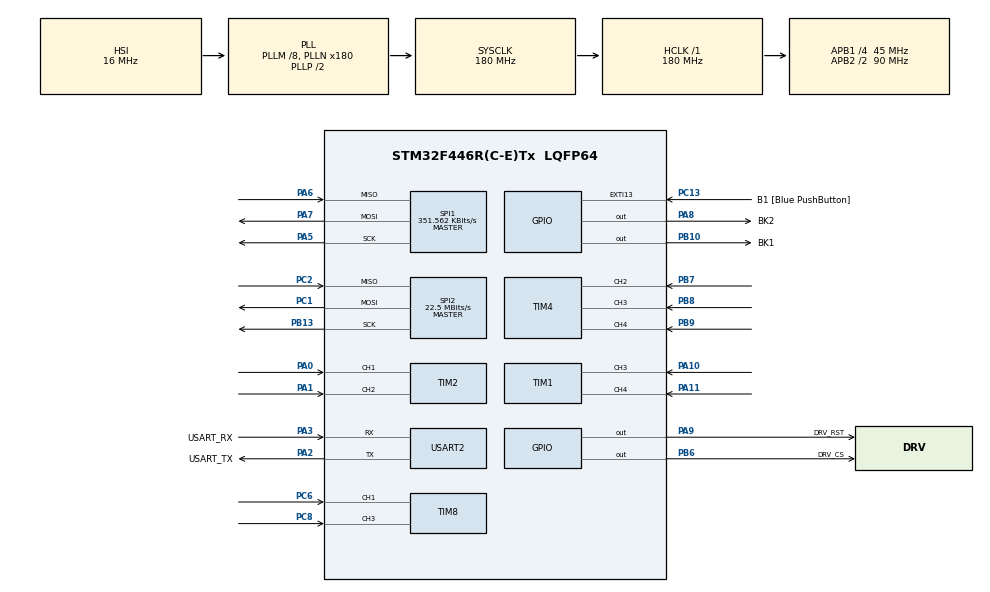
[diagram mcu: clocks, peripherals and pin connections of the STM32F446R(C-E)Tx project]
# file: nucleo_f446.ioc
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Dma.Request0=SPI1_RX
Dma.Request1=SPI1_TX
Dma.Request2=USART2_RX
Dma.SPI1_RX.0.Direction=DMA_PERIPH_TO_MEMORY
Dma.SPI1_RX.0.FIFOMode=DMA_FIFOMODE_DISABLE
Dma.SPI1_RX.0.Instance=DMA2_Stream0
Dma.SPI1_RX.0.MemDataAlignment=DMA_MDATAALIGN_BYTE
Dma.SPI1_RX.0.MemInc=DMA_MINC_ENABLE
Dma.SPI1_RX.0.Mode=DMA_NORMAL
Dma.SPI1_RX.0.PeriphDataAlignment=DMA_PDATAALIGN_BYTE
Dma.SPI1_RX.0.PeriphInc=DMA_PINC_DISABLE
Dma.SPI1_RX.0.Priority=DMA_PRIORITY_LOW
Dma.SPI1_TX.1.Direction=DMA_MEMORY_TO_PERIPH
Dma.SPI1_TX.1.FIFOMode=DMA_FIFOMODE_DISABLE
Dma.SPI1_TX.1.Instance=DMA2_Stream3
Dma.SPI1_TX.1.MemDataAlignment=DMA_MDATAALIGN_BYTE
Dma.SPI1_TX.1.MemInc=DMA_MINC_ENABLE
Dma.SPI1_TX.1.Mode=DMA_NORMAL
Dma.SPI1_TX.1.PeriphDataAlignment=DMA_PDATAALIGN_BYTE
Dma.SPI1_TX.1.PeriphInc=DMA_PINC_DISABLE
Dma.SPI1_TX.1.Priority=DMA_PRIORITY_LOW
Dma.USART2_RX.2.Direction=DMA_PERIPH_TO_MEMORY
Dma.USART2_RX.2.FIFOMode=DMA_FIFOMODE_DISABLE
Dma.USART2_RX.2.Instance=DMA1_Stream5
Dma.USART2_RX.2.MemDataAlignment=DMA_MDATAALIGN_BYTE
Dma.USART2_RX.2.MemInc=DMA_MINC_ENABLE
Dma.USART2_RX.2.Mode=DMA_NORMAL
Dma.USART2_RX.2.PeriphDataAlignment=DMA_PDATAALIGN_BYTE
Dma.USART2_RX.2.PeriphInc=DMA_PINC_DISABLE
Dma.USART2_RX.2.Priority=DMA_PRIORITY_LOW
FREERTOS.BinarySemaphores01=flashSPISemaphore,Static,flashSPISemaphoreControlBlock,Depleted;driverSPISemaphore,Static,driverSPISemaphoreControlBlock,Depleted;commDataAvailable,Static,commDataAvailableControlBlock,Depleted
FREERTOS.Mutexes01=FlashMutex,Static,FlashMutexControlBlock,Available;MotorDriverMutex,Static,MotorDriverMutexControlBlock,Available
FREERTOS.Tasks01=defaultTask,24,128,StartDefaultTask,Default,NULL,Static,defaultTaskBuffer,defaultTaskControlBlock;ledTask,8,128,StartLedTask,Default,NULL,Static,ledTaskBuffer,ledTaskControlBlock;flashTask,8,1024,StartFlashTask,Default,NULL,Static,flashTaskBuffer,flashTaskControlBlock;commTask,8,1024,StartCommTask,Default,NULL,Static,commTaskBuffer,commTaskControlBlock;motorControl,8,256,StartMotorControlTask,Default,NULL,Static,motorControlBuffer,motorControlControlBlock
Mcu.Family=STM32F4
Mcu.Name=STM32F446R(C-E)Tx
Mcu.Package=LQFP64
NVIC.DMA1_Stream5_IRQn=true\:5\:0\:false\:false\:true\:true\:false\:true\:true
NVIC.DMA2_Stream0_IRQn=true\:5\:0\:false\:false\:true\:true\:false\:true\:true
NVIC.DMA2_Stream3_IRQn=true\:5\:0\:false\:false\:true\:true\:false\:true\:true
NVIC.PriorityGroup=NVIC_PRIORITYGROUP_4
NVIC.SPI1_IRQn=true\:5\:0\:false\:false\:true\:true\:true\:true\:true
NVIC.TIM8_TRG_COM_TIM14_IRQn=true\:15\:0\:false\:false\:true\:false\:false\:true\:true
NVIC.TimeBase=TIM8_TRG_COM_TIM14_IRQn
NVIC.TimeBaseIP=TIM14
NVIC.USART2_IRQn=true\:5\:0\:false\:false\:true\:true\:true\:true\:true
PA0-WKUP.Signal=S_TIM2_CH1_ETR
PA1.Signal=S_TIM2_CH2
PA10.Signal=S_TIM1_CH3
PA11.Signal=S_TIM1_CH4
PA13.GPIO_Label=TMS
PA13.Mode=Serial_Wire
PA13.Signal=SYS_JTMS-SWDIO
PA14.GPIO_Label=TCK
PA14.Mode=Serial_Wire
PA14.Signal=SYS_JTCK-SWCLK
PA2.GPIO_Label=USART_TX
PA2.Mode=Asynchronous
PA2.Signal=USART2_TX
PA3.GPIO_Label=USART_RX
PA3.Mode=Asynchronous
PA3.Signal=USART2_RX
PA5.GPIO_PuPd=GPIO_NOPULL
PA5.Mode=Full_Duplex_Master
PA5.Signal=SPI1_SCK
PA6.GPIO_PuPd=GPIO_NOPULL
PA6.Mode=Full_Duplex_Master
PA6.Signal=SPI1_MISO
PA7.GPIO_PuPd=GPIO_NOPULL
PA7.Mode=Full_Duplex_Master
PA7.Signal=SPI1_MOSI
PA8.GPIO_Label=BK2
PA8.GPIO_PuPd=GPIO_PULLDOWN
PA8.Signal=GPIO_Output
PA9.GPIO_Label=DRV_RST
PA9.Signal=GPIO_Output
PB10.GPIO_Label=BK1
PB10.GPIO_PuPd=GPIO_PULLDOWN
PB10.Signal=GPIO_Output
PB13.Mode=Full_Duplex_Master
PB13.Signal=SPI2_SCK
PB5.Signal=S_TIM3_CH2
PB6.GPIO_Label=DRV_CS
PB6.Signal=GPIO_Output
PB7.Signal=S_TIM4_CH2
PB8.Signal=S_TIM4_CH3
PB9.Signal=S_TIM4_CH4
PC1.Mode=Full_Duplex_Master
PC1.Signal=SPI2_MOSI
PC13.GPIO_Label=B1 [Blue PushButton]
PC13.GPIO_ModeDefaultEXTI=GPIO_MODE_IT_FALLING
PC13.Signal=GPXTI13
PC14-OSC32_IN.Mode=LSE-External-Oscillator
PC14-OSC32_IN.Signal=RCC_OSC32_IN
PC15-OSC32_OUT.Mode=LSE-External-Oscillator
PC15-OSC32_OUT.Signal=RCC_OSC32_OUT
PC2.Mode=Full_Duplex_Master
PC2.Signal=SPI2_MISO
PC6.Signal=S_TIM8_CH1
PC8.Signal=S_TIM8_CH3
PH0-OSC_IN.Mode=HSE-External-Oscillator
PH0-OSC_IN.Signal=RCC_OSC_IN
PH1-OSC_OUT.Mode=HSE-External-Oscillator
PH1-OSC_OUT.Signal=RCC_OSC_OUT
ProjectManager.HeapSize=0x200
ProjectManager.StackSize=0x400
ProjectManager.TargetToolchain=CMake
RCC.48MHZClocksFreq_Value=84000000
RCC.AHBFreq_Value=180000000
RCC.APB1CLKDivider=RCC_HCLK_DIV4
RCC.APB1Freq_Value=45000000
RCC.APB1TimFreq_Value=90000000
RCC.APB2CLKDivider=RCC_HCLK_DIV2
RCC.APB2Freq_Value=90000000
RCC.APB2TimFreq_Value=180000000
RCC.CortexFreq_Value=180000000
RCC.FLatency-AdvancedSettings=FLASH_LATENCY_5
RCC.HCLKFreq_Value=180000000
RCC.HSE_VALUE=8000000
RCC.HSI_VALUE=16000000
RCC.PLLM=8
RCC.PLLN=180
RCC.SYSCLKFreq_VALUE=180000000
RCC.SYSCLKSource=RCC_SYSCLKSOURCE_PLLCLK
RCC.USBFreq_Value=180000000
RCC.VCOOutputFreq_Value=360000000
SH.S_TIM1_CH3.0=TIM1_CH3,Input_Capture3_from_TI3
SH.S_TIM1_CH4.0=TIM1_CH4,Input_Capture4_from_TI4
SH.S_TIM2_CH1_ETR.0=TIM2_CH1,Encoder_Interface
SH.S_TIM2_CH2.0=TIM2_CH2,Encoder_Interface
SH.S_TIM3_CH2.0=TIM3_CH2
SH.S_TIM4_CH2.0=TIM4_CH2,Input_Capture2_from_TI2
SH.S_TIM4_CH3.0=TIM4_CH3,Input_Capture3_from_TI3
SH.S_TIM4_CH4.0=TIM4_CH4,Input_Capture4_from_TI4
SH.S_TIM8_CH1.0=TIM8_CH1,Input_Capture1_from_TI1
SH.S_TIM8_CH3.0=TIM8_CH3,Input_Capture3_from_TI3
SPI1.BaudRatePrescaler=SPI_BAUDRATEPRESCALER_256
SPI1.CLKPhase=SPI_PHASE_2EDGE
SPI1.CLKPolarity=SPI_POLARITY_HIGH
SPI1.CalculateBaudRate=351.562 KBits/s
SPI1.Direction=SPI_DIRECTION_2LINES
SPI1.Mode=SPI_MODE_MASTER
SPI1.VirtualType=VM_MASTER
SPI2.BaudRatePrescaler=SPI_BAUDRATEPRESCALER_2
SPI2.CalculateBaudRate=22.5 MBits/s
SPI2.Direction=SPI_DIRECTION_2LINES
SPI2.Mode=SPI_MODE_MASTER
SPI2.VirtualType=VM_MASTER
TIM1.Channel-Input_Capture3_from_TI3=TIM_CHANNEL_3
TIM1.Channel-Input_Capture4_from_TI4=TIM_CHANNEL_4
TIM2.EncoderMode=TIM_ENCODERMODE_TI12
TIM2.IC1Filter=10
TIM2.IC2Filter=10
TIM4.Channel-Input_Capture2_from_TI2=TIM_CHANNEL_2
TIM4.Channel-Input_Capture3_from_TI3=TIM_CHANNEL_3
TIM4.Channel-Input_Capture4_from_TI4=TIM_CHANNEL_4
TIM8.Channel-Input_Capture1_from_TI1=TIM_CHANNEL_1
TIM8.Channel-Input_Capture3_from_TI3=TIM_CHANNEL_3
USART2.VirtualMode=VM_ASYNC
VP_FREERTOS_VS_CMSIS_V2.Mode=CMSIS_V2
VP_SYS_VS_tim14.Mode=TIM14
VP_TIM1_VS_ClockSourceINT.Mode=Internal
VP_TIM4_VS_ClockSourceINT.Mode=Internal
VP_TIM8_VS_ClockSourceINT.Mode=Internal
board=NUCLEO-F446RE

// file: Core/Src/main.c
/* USER CODE BEGIN Header */
/**
  ******************************************************************************
  * @file           : main.c
  * @brief          : Main program body
  ******************************************************************************
  * @attention
  *
  * Copyright (c) 2026 RoverTech.
  * All rights reserved.
  *
  * This software is licensed under terms that can be found in the LICENSE file
  * in the root directory of this software component.
  * If no LICENSE file comes with this software, it is provided AS-IS.
  *
  ******************************************************************************
  */
/* USER CODE END Header */
#include "main.h"
#include "cmsis_os.h"
#include "dma.h"
#include "spi.h"
#include "tim.h"
#include "usart.h"
#include "gpio.h"

void SystemClock_Config(void);
void MX_FREERTOS_Init(void);

int main(void)
{

  /* MCU Configuration--------------------------------------------------------*/

  /* Reset of all peripherals, Initializes the Flash interface and the Systick. */
  HAL_Init();

  /* Configure the system clock */
  SystemClock_Config();

  /* Initialize all configured peripherals */
  MX_GPIO_Init();
  MX_DMA_Init();
  MX_USART2_UART_Init();
  MX_SPI1_Init();
  MX_TIM1_Init();
  MX_TIM2_Init();
  MX_TIM4_Init();
  MX_TIM8_Init();
  MX_SPI2_Init();

  /* Init scheduler */
  osKernelInitialize();  /* Call init function for freertos objects (in cmsis_os2.c) */
  MX_FREERTOS_Init();

  /* Start scheduler */
  osKernelStart();

  /* We should never get here as control is now taken by the scheduler */

  /* Infinite loop */
  while (1)
  {

  }
}

void SystemClock_Config(void)
{
  RCC_OscInitTypeDef RCC_OscInitStruct = {0};
  RCC_ClkInitTypeDef RCC_ClkInitStruct = {0};

  /** Configure the main internal regulator output voltage
  */
  __HAL_RCC_PWR_CLK_ENABLE();
  __HAL_PWR_VOLTAGESCALING_CONFIG(PWR_REGULATOR_VOLTAGE_SCALE1);

  /** Initializes the RCC Oscillators according to the specified parameters
  * in the RCC_OscInitTypeDef structure.
  */
  RCC_OscInitStruct.OscillatorType = RCC_OSCILLATORTYPE_HSI;
  RCC_OscInitStruct.HSIState = RCC_HSI_ON;
  RCC_OscInitStruct.HSICalibrationValue = RCC_HSICALIBRATION_DEFAULT;
  RCC_OscInitStruct.PLL.PLLState = RCC_PLL_ON;
  RCC_OscInitStruct.PLL.PLLSource = RCC_PLLSOURCE_HSI;
  RCC_OscInitStruct.PLL.PLLM = 8;
  RCC_OscInitStruct.PLL.PLLN = 180;
  RCC_OscInitStruct.PLL.PLLP = RCC_PLLP_DIV2;
  RCC_OscInitStruct.PLL.PLLQ = 2;
  RCC_OscInitStruct.PLL.PLLR = 2;
  if (HAL_RCC_OscConfig(&RCC_OscInitStruct) != HAL_OK)
  {
    Error_Handler();
  }

  /** Activate the Over-Drive mode
  */
  if (HAL_PWREx_EnableOverDrive() != HAL_OK)
  {
    Error_Handler();
  }

  /** Initializes the CPU, AHB and APB buses clocks
  */
  RCC_ClkInitStruct.ClockType = RCC_CLOCKTYPE_HCLK|RCC_CLOCKTYPE_SYSCLK
                              |RCC_CLOCKTYPE_PCLK1|RCC_CLOCKTYPE_PCLK2;
  RCC_ClkInitStruct.SYSCLKSource = RCC_SYSCLKSOURCE_PLLCLK;
  RCC_ClkInitStruct.AHBCLKDivider = RCC_SYSCLK_DIV1;
  RCC_ClkInitStruct.APB1CLKDivider = RCC_HCLK_DIV4;
  RCC_ClkInitStruct.APB2CLKDivider = RCC_HCLK_DIV2;

  if (HAL_RCC_ClockConfig(&RCC_ClkInitStruct, FLASH_LATENCY_5) != HAL_OK)
  {
    Error_Handler();
  }
}

void HAL_TIM_PeriodElapsedCallback(TIM_HandleTypeDef *htim)
{
  if (htim->Instance == TIM14)
  {
    HAL_IncTick();
  }
}

void Error_Handler(void)
{
  __disable_irq();
  while (1)
  {
  }
}

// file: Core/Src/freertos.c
/* USER CODE BEGIN Header */
/**
  ******************************************************************************
  * File Name          : freertos.c
  * Description        : Code for freertos applications
  ******************************************************************************
  * @attention
  *
  * Copyright (c) 2026 RoverTech.
  * All rights reserved.
  *
  * This software is licensed under terms that can be found in the LICENSE file
  * in the root directory of this software component.
  * If no LICENSE file comes with this software, it is provided AS-IS.
  *
  ******************************************************************************
  */
/* USER CODE END Header */

#include "FreeRTOS.h"
#include "cmsis_os2.h"
#include "stm32f4xx_hal.h"
#include "task.h"
#include "main.h"
#include "cmsis_os.h"

/* USER CODE BEGIN Includes */
#include "file.c"
#include "spi.h"
#include "../settings.h"
#include "../W25X_FLASH_FREERTOS/w25.h"
#include <stdint.h>
#include <string.h>
#include <stdio.h>
#include "../powerSTEP01/ps01.h"

#include "../RArm/rarm.h"

#include "tim.h"
#include "usart.h"
#include <stdlib.h>
/* USER CODE END Includes */

typedef StaticTask_t osStaticThreadDef_t;
typedef StaticSemaphore_t osStaticMutexDef_t;
typedef StaticSemaphore_t osStaticSemaphoreDef_t;

/* USER CODE BEGIN Variables */
w25_info_t w25info;
char comm_buffer[256];
/* USER CODE END Variables */
/* Definitions for defaultTask */
osThreadId_t defaultTaskHandle;
uint32_t defaultTaskBuffer[ 128 ];
osStaticThreadDef_t defaultTaskControlBlock;
const osThreadAttr_t defaultTask_attributes = {
  .name = "defaultTask",
  .cb_mem = &defaultTaskControlBlock,
  .cb_size = sizeof(defaultTaskControlBlock),
  .stack_mem = &defaultTaskBuffer[0],
  .stack_size = sizeof(defaultTaskBuffer),
  .priority = (osPriority_t) osPriorityNormal,
};
/* Definitions for ledTask */
osThreadId_t ledTaskHandle;
uint32_t ledTaskBuffer[ 128 ];
osStaticThreadDef_t ledTaskControlBlock;
const osThreadAttr_t ledTask_attributes = {
  .name = "ledTask",
  .cb_mem = &ledTaskControlBlock,
  .cb_size = sizeof(ledTaskControlBlock),
  .stack_mem = &ledTaskBuffer[0],
  .stack_size = sizeof(ledTaskBuffer),
  .priority = (osPriority_t) osPriorityLow,
};
/* Definitions for flashTask */
osThreadId_t flashTaskHandle;
uint32_t flashTaskBuffer[ 1024 ];
osStaticThreadDef_t flashTaskControlBlock;
const osThreadAttr_t flashTask_attributes = {
  .name = "flashTask",
  .cb_mem = &flashTaskControlBlock,
  .cb_size = sizeof(flashTaskControlBlock),
  .stack_mem = &flashTaskBuffer[0],
  .stack_size = sizeof(flashTaskBuffer),
  .priority = (osPriority_t) osPriorityLow,
};
/* Definitions for commTask */
osThreadId_t commTaskHandle;
uint32_t commTaskBuffer[ 1024 ];
osStaticThreadDef_t commTaskControlBlock;
const osThreadAttr_t commTask_attributes = {
  .name = "commTask",
  .cb_mem = &commTaskControlBlock,
  .cb_size = sizeof(commTaskControlBlock),
  .stack_mem = &commTaskBuffer[0],
  .stack_size = sizeof(commTaskBuffer),
  .priority = (osPriority_t) osPriorityLow,
};
/* Definitions for motorControl */
osThreadId_t motorControlHandle;
uint32_t motorControlBuffer[ 256 ];
osStaticThreadDef_t motorControlControlBlock;
const osThreadAttr_t motorControl_attributes = {
  .name = "motorControl",
  .cb_mem = &motorControlControlBlock,
  .cb_size = sizeof(motorControlControlBlock),
  .stack_mem = &motorControlBuffer[0],
  .stack_size = sizeof(motorControlBuffer),
  .priority = (osPriority_t) osPriorityLow,
};
/* Definitions for FlashMutex */
osMutexId_t FlashMutexHandle;
osStaticMutexDef_t FlashMutexControlBlock;
const osMutexAttr_t FlashMutex_attributes = {
  .name = "FlashMutex",
  .cb_mem = &FlashMutexControlBlock,
  .cb_size = sizeof(FlashMutexControlBlock),
};
/* Definitions for MotorDriverMutex */
osMutexId_t MotorDriverMutexHandle;
osStaticMutexDef_t MotorDriverMutexControlBlock;
const osMutexAttr_t MotorDriverMutex_attributes = {
  .name = "MotorDriverMutex",
  .cb_mem = &MotorDriverMutexControlBlock,
  .cb_size = sizeof(MotorDriverMutexControlBlock),
};
/* Definitions for flashSPISemaphore */
osSemaphoreId_t flashSPISemaphoreHandle;
osStaticSemaphoreDef_t flashSPISemaphoreControlBlock;
const osSemaphoreAttr_t flashSPISemaphore_attributes = {
  .name = "flashSPISemaphore",
  .cb_mem = &flashSPISemaphoreControlBlock,
  .cb_size = sizeof(flashSPISemaphoreControlBlock),
};
/* Definitions for driverSPISemaphore */
osSemaphoreId_t driverSPISemaphoreHandle;
osStaticSemaphoreDef_t driverSPISemaphoreControlBlock;
const osSemaphoreAttr_t driverSPISemaphore_attributes = {
  .name = "driverSPISemaphore",
  .cb_mem = &driverSPISemaphoreControlBlock,
  .cb_size = sizeof(driverSPISemaphoreControlBlock),
};
/* Definitions for commDataAvailable */
osSemaphoreId_t commDataAvailableHandle;
osStaticSemaphoreDef_t commDataAvailableControlBlock;
const osSemaphoreAttr_t commDataAvailable_attributes = {
  .name = "commDataAvailable",
  .cb_mem = &commDataAvailableControlBlock,
  .cb_size = sizeof(commDataAvailableControlBlock),
};

void StartDefaultTask(void *argument);
void StartLedTask(void *argument);
void StartFlashTask(void *argument);
void StartCommTask(void *argument);
void StartMotorControlTask(void *argument);

void MX_FREERTOS_Init(void); /* (MISRA C 2004 rule 8.1) */

void MX_FREERTOS_Init(void) {
  /* Create the mutex(es) */
  /* creation of FlashMutex */
  FlashMutexHandle = osMutexNew(&FlashMutex_attributes);

  /* creation of MotorDriverMutex */
  MotorDriverMutexHandle = osMutexNew(&MotorDriverMutex_attributes);

  /* Create the semaphores(s) */
  /* creation of flashSPISemaphore */
  flashSPISemaphoreHandle = osSemaphoreNew(1, 0, &flashSPISemaphore_attributes);

  /* creation of driverSPISemaphore */
  driverSPISemaphoreHandle = osSemaphoreNew(1, 0, &driverSPISemaphore_attributes);

  /* creation of commDataAvailable */
  commDataAvailableHandle = osSemaphoreNew(1, 0, &commDataAvailable_attributes);

  /* Create the thread(s) */
  /* creation of defaultTask */
  defaultTaskHandle = osThreadNew(StartDefaultTask, NULL, &defaultTask_attributes);

  /* creation of ledTask */
  ledTaskHandle = osThreadNew(StartLedTask, NULL, &ledTask_attributes);

  /* creation of flashTask */
  flashTaskHandle = osThreadNew(StartFlashTask, NULL, &flashTask_attributes);

  /* creation of commTask */
  commTaskHandle = osThreadNew(StartCommTask, NULL, &commTask_attributes);

  /* creation of motorControl */
  motorControlHandle = osThreadNew(StartMotorControlTask, NULL, &motorControl_attributes);

}

/* USER CODE BEGIN Header_StartDefaultTask */
PS01Status_t status = {0};
uint32_t abs_pos = 0;
float encoder_degs = 0.0f;
uint32_t full_rotation = 0;
uint32_t tim_cnt = 0;
/**
  * @brief  Function implementing the defaultTask thread.
  * @param  argument: Not used
  * @retval None
  */
/* USER CODE END Header_StartDefaultTask */
void StartDefaultTask(void *argument)
{
  /* USER CODE BEGIN StartDefaultTask */
  /* Reset */

  uint8_t buf[2] = {0,0};

  HAL_SPI_Transmit(&hspi1, buf, 2, 200);

  HAL_GPIO_WritePin(DRV_RST_GPIO_Port, DRV_RST_Pin, 0);
  osDelay(1);
  HAL_GPIO_WritePin(DRV_RST_GPIO_Port, DRV_RST_Pin, 1);
  osDelay(100);

  StepperBank_t bank;
  Stepper_t motors[N_JOINTS];
  bank.motors = motors;
  RARM_SimpleConfig_t conf;

  RARM_SetBank(&bank);

  //ps01SetParam_chain(MAX_SPEED, 200);
  //uint32_t spd = ps01GetParam_chain(MAX_SPEED);

  uint8_t i = 0;

/*

  HAL_GPIO_WritePin(BK1_GPIO_Port, BK1_Pin, 1);
  HAL_GPIO_WritePin(BK2_GPIO_Port, BK2_Pin, 1);

  // J1
  conf.steps_rev = 200;
  conf.reduction_ratio = 3;
  conf.min_degs = -90;
  conf.max_degs = 90;

  // steps/s or steps/s²
  conf.acceleration = 300;
  conf.deceleration = 300;
  conf.fullstep_speed = 20000;
  conf.max_speed = 100;
  conf.min_speed = 0;

  // volts
  conf.hold_voltage = 2.5;
  conf.run_acc_dec_voltage = 3.5;
  conf.supply_voltage = 24;

  // amps
  conf.oc_threshold = 40;
  conf.stall_threshold = 20;

  conf.OVERCURRENT_SD = OC_NOSHUTDOWN;
  conf.VSCOMP = VSCOMP_DISABLE;
  conf.STEP_MODE = SM_128_MICROSTEP;

  RARM_SetConfig(0, &conf);

  // J2
  conf.steps_rev = 200;
  conf.reduction_ratio = 50;
  conf.min_degs = -70;
  conf.max_degs = 100;

  // steps/s or steps/s²
  conf.acceleration = 800;
  conf.deceleration = 800;
  conf.fullstep_speed = 20000;
  conf.max_speed = 800;
  conf.min_speed = 0;

  // volts
  conf.hold_voltage = 1.5;
  conf.run_acc_dec_voltage = 1.8;
  conf.supply_voltage = 24;

  // amps
  conf.oc_threshold = 40;
  conf.stall_threshold = 20;

  conf.OVERCURRENT_SD = OC_NOSHUTDOWN;
  conf.VSCOMP = VSCOMP_DISABLE;
  conf.STEP_MODE = SM_128_MICROSTEP;

  mot_bank->active = 1;
  ps01SetParam_chain(ST_SLP,      0x19); // starting slope ~0.038%/step/s
  ps01SetParam_chain(FN_SLP_ACC,  0x79); // acceleration slope
  ps01SetParam_chain(FN_SLP_DEC,  0x79); // deceleration slope

  RARM_SetConfig(5, &conf);

  // J4
  conf.steps_rev = 200;
  conf.reduction_ratio = 5;
  conf.min_degs = -90;
  conf.max_degs = 90;

  // steps/s or steps/s²
  conf.acceleration = 400;
  conf.deceleration = 400;
  conf.fullstep_speed = 20000;
  conf.max_speed = 400;
  conf.min_speed = 0;

  // volts
  conf.hold_voltage = 1.5;
  conf.run_acc_dec_voltage = 2.34;
  conf.supply_voltage = 24;

  // amps
  conf.oc_threshold = 40;
  conf.stall_threshold = 20;

  conf.OVERCURRENT_SD = OC_NOSHUTDOWN;
  conf.VSCOMP = VSCOMP_DISABLE;
  conf.STEP_MODE = SM_16_MICROSTEP;

  mot_bank->active = 1;
  ps01SetParam_chain(ST_SLP,      0x89); // starting slope ~0.038%/step/s
  ps01SetParam_chain(FN_SLP_ACC,  0x79); // acceleration slope
  ps01SetParam_chain(FN_SLP_DEC,  0x79); // deceleration slope

  RARM_SetConfig(1, &conf);

  // J5
  conf.steps_rev = 200;
  conf.reduction_ratio = 5;
  conf.min_degs = -90;
  conf.max_degs = 90;

  // steps/s or steps/s²
  conf.acceleration = 400;
  conf.deceleration = 400;
  conf.fullstep_speed = 20000;
  conf.max_speed = 400;
  conf.min_speed = 0;

  // volts
  conf.hold_voltage = 1.5;
  conf.run_acc_dec_voltage = 2.34;
  conf.supply_voltage = 24;

  // amps
  conf.oc_threshold = 40;
  conf.stall_threshold = 20;

  conf.OVERCURRENT_SD = OC_NOSHUTDOWN;
  conf.VSCOMP = VSCOMP_DISABLE;
  conf.STEP_MODE = SM_16_MICROSTEP;

  mot_bank->active = 3;
  ps01SetParam_chain(ST_SLP,      0x89); // starting slope ~0.038%/step/s
  ps01SetParam_chain(FN_SLP_ACC,  0x79); // acceleration slope
  ps01SetParam_chain(FN_SLP_DEC,  0x79); // deceleration slope

  RARM_SetConfig(3, &conf);

  // J3
  conf.steps_rev = 200;
  conf.reduction_ratio = 50;
  conf.min_degs = -140;
  conf.max_degs = 140;

  // steps/s or steps/s²
  conf.acceleration = 1000;
  conf.deceleration = 1000;
  conf.fullstep_speed = 20000;
  conf.max_speed = 1000;
  conf.min_speed = 0;

  // volts
  conf.hold_voltage = 3.5;
  conf.run_acc_dec_voltage = 3.5;
  conf.supply_voltage = 24;

  // amps
  conf.oc_threshold = 40;
  conf.stall_threshold = 20;

  conf.OVERCURRENT_SD = OC_NOSHUTDOWN;
  conf.VSCOMP = VSCOMP_DISABLE;
  conf.STEP_MODE = SM_128_MICROSTEP;

  mot_bank->active = 5;
  ps01SetParam_chain(ST_SLP,      0x89); // starting slope ~0.038%/step/s
  ps01SetParam_chain(FN_SLP_ACC,  0x79); // acceleration slope
  ps01SetParam_chain(FN_SLP_DEC,  0x79); // deceleration slope

  RARM_SetConfig(4, &conf);

  // J6
  conf.steps_rev = 200;
  conf.reduction_ratio = 50;
  conf.min_degs = -120;
  conf.max_degs = 120;

  // steps/s or steps/s²
  conf.acceleration = 4000;
  conf.deceleration = 4000;
  conf.fullstep_speed = 20000;
  conf.max_speed = 1000;
  conf.min_speed = 0;

  // volts
  conf.hold_voltage = 1.5;
  conf.run_acc_dec_voltage = 2.34;
  conf.supply_voltage = 24;

  // amps
  conf.oc_threshold = 40;
  conf.stall_threshold = 20;

  conf.OVERCURRENT_SD = OC_NOSHUTDOWN;
  conf.VSCOMP = VSCOMP_DISABLE;
  conf.STEP_MODE = SM_128_MICROSTEP;

  RARM_SetConfig(2, &conf);

  osDelay(100);

  */

  /*if (joint[1] == '2')
      joint[1] = '5';
    else if (joint[1] == '3')
      joint[1] = '4';
    else if (joint[1] == '4')
      joint[1] = '1';
    else if (joint[1] == '5')
      joint[1] = '5';
    else if (joint[1] == '6')
      joint[1] = '2';
    else if (joint[1] == '1')
      joint[1] = '0';*/

  // DRILL

  conf.steps_rev = 200;
  conf.reduction_ratio = 1;
  conf.min_degs = -140;
  conf.max_degs = 140;

  // steps/s or steps/s²
  conf.acceleration = 200;
  conf.deceleration = 1000;
  conf.fullstep_speed = 20000;
  conf.max_speed = 1000;
  conf.min_speed = 0;

  // volts
  conf.hold_voltage = 2.5;
  conf.run_acc_dec_voltage = 3.5;
  conf.supply_voltage = 24;

  // amps
  conf.oc_threshold = 40;
  conf.stall_threshold = 20;

  conf.OVERCURRENT_SD = OC_NOSHUTDOWN;
  conf.VSCOMP = VSCOMP_DISABLE;
  conf.STEP_MODE = SM_128_MICROSTEP;

  mot_bank->active = 0;
  ps01SetParam_chain(ST_SLP,      0x89); // starting slope ~0.038%/step/s
  ps01SetParam_chain(FN_SLP_ACC,  0x89); // acceleration slope
  ps01SetParam_chain(FN_SLP_DEC,  0x89); // deceleration slope

  RARM_SetConfig(0, &conf);

  osDelay(osWaitForever);
  HAL_TIM_Encoder_Start(&htim2, TIM_CHANNEL_ALL);

  //RARM_MoveDegrees(J1_INDEX, CLOCKWISE, 45);

  /* Infinite loop */
  for(;;)
  {
    // random encoder code
    tim_cnt = TIM2->CNT;
    encoder_degs = ((TIM2->CNT > 4000) ? 4000 : TIM2->CNT) / 4000.0f * 360.0f;
    if (TIM2->CNT > 4000)
    {
      full_rotation++;
      TIM2->CNT -= 4000;
    }
    encoder_degs += full_rotation * 360;
    /*if (!HAL_GPIO_ReadPin(B1_GPIO_Port, B1_Pin)/)
    {
      //ps01SoftStop_chain(&bank);
      //abs_pos = ps01GetParam_chain(ABS_POS);
      ps01GoHome_chain(&bank);
      osDelay(osWaitForever);
      //ps01MoveDegrees_chain(0, 7200);
    }*/
    //status = (PS01Status_t)ps01GetStatus_chain(&bank);
    osDelay(1);
  }
  /* USER CODE END StartDefaultTask */
}

void StartLedTask(void *argument)
{
  /* USER CODE BEGIN StartLedTask */
  /* Infinite loop */
  for(;;)
  {
    //HAL_GPIO_TogglePin(LD2_GPIO_Port, LD2_Pin);
    osDelay(50);
  }
  /* USER CODE END StartLedTask */
}

void StartFlashTask(void *argument)
{
  for(;;)
  {
    osDelay(1);
  }
}

/* USER CODE BEGIN Header_StartCommTask */
/**
* @brief Function implementing the commTask thread.
* @param argument: Not used
* @retval None
*/
uint16_t recv_size;

// string must be correctly terminated, either by '\0' or the specified terminator
int32_t parseInt(char *str, char terminator)
{
  int32_t n = 0, i = 0;
  while (str[i] != '\0' && str[i] != terminator)
  {
    n += str[i] - '0';
    n *= 10;
  }
  return n;
}
/* USER CODE END Header_StartCommTask */
void StartCommTask(void *argument)
{
  /* USER CODE BEGIN StartCommTask */
  HAL_UARTEx_ReceiveToIdle_DMA(&huart2, (uint8_t*)comm_buffer, 256);
  char cmd[10 + 1];
  char joint[2 + 1];
  char arg[20 + 1];
  char cmd_len;

  char *arg_ptr;
  char txbuf[256];

  RARM_Gearbox_t grbx;
  grbx.mot1_index = 1;
  grbx.mot2_index = 3;
  grbx.rotation_reduction_ratio = 1.4;

  osDelay(100);

  /* Infinite loop */
  for(;;)
  {
    osSemaphoreAcquire(commDataAvailableHandle, osWaitForever);

    memset(cmd, 0, sizeof(cmd));
    memset(joint, 0, sizeof(joint));
    memset(arg, 0, sizeof(arg));
    // command
    if (!strstr(comm_buffer, " ") && !strstr(comm_buffer, "z") && !strstr(comm_buffer, "K"))
    {
      HAL_UART_Transmit(&huart2, (uint8_t*)"STOPPING ALL MOTORS\n", 20, 200);
      for (uint8_t i = 0; i < N_JOINTS; i++)
        RARM_SoftBrake(i);
      continue;
    }
    cmd_len = strstr(comm_buffer, " ") - comm_buffer;
    strncpy(cmd, comm_buffer, cmd_len);

    // joint
    char *joint_ptr = comm_buffer + cmd_len + 1;
    joint[0] = joint_ptr[0];
    joint[1] = joint_ptr[1];

    if (joint[0] != 'j' && !strstr(comm_buffer, "z") && !strstr(comm_buffer, "K"))
    {
      HAL_UART_Transmit(&huart2, (uint8_t*)"STOPPING ALL MOTORS\n", 20, 200);
      for (uint8_t i = 0; i < N_JOINTS; i++)
        RARM_SoftBrake(i);
      continue;
    }

    // argument
    arg_ptr = joint_ptr + 3;
    strncpy(arg, arg_ptr, sizeof(arg) - 1);

    snprintf(txbuf, 256, "cmd: %s; joint: %s; arg: %s\n", cmd, joint, arg);

    if (joint[1] == '2')
      joint[1] = '5';
    else if (joint[1] == '3')
      joint[1] = '4';
    else if (joint[1] == '4')
      joint[1] = '1';
    else if (joint[1] == '5')
      joint[1] = '5';
    else if (joint[1] == '6')
      joint[1] = '2';
    else if (joint[1] == '1')
      joint[1] = '0';

    if (strnstr(comm_buffer, "run", recv_size))
    {
      uint8_t dir;
      uint16_t speed;
      char *end;

      dir = (uint8_t)strtoul(arg, &end, 10);
      speed = (uint16_t)strtoul(end, NULL, 10);

      snprintf(txbuf, 256, "running %s: %d RPM in direction %d\n", joint, speed, dir);
      HAL_UART_Transmit(&huart2, (uint8_t*)txbuf, strlen(txbuf), 200);

      RARM_Run(joint[1] - '0', dir, speed);
    }
    else if (strnstr(comm_buffer, "move", recv_size))
    {
      uint16_t degrees;

      degrees = (uint16_t)strtoul(arg, NULL, 10);

      snprintf(txbuf, 256, "moving %s: %d degrees\n", joint, degrees);
      HAL_UART_Transmit(&huart2, (uint8_t*)txbuf, strlen(txbuf), 200);

      RARM_MoveDegrees(joint[1] -'0', degrees);
    }
    else if (strnstr(comm_buffer, "movgr", recv_size))
    {
      int32_t degrees = (int32_t)strtoul(arg, NULL, 10);

      snprintf(txbuf, 256, "moving gearbox: %d degrees\n", degrees);
      HAL_UART_Transmit(&huart2, (uint8_t*)txbuf, strlen(txbuf), 200);

      RARM_GearboxMoveDegrees(&grbx, degrees);
    }
    else if (strnstr(comm_buffer, "rotgr", recv_size))
    {
      int32_t degrees = (int32_t)strtoul(arg, NULL, 10);

      snprintf(txbuf, 256, "moving gearbox: %d degrees\n", degrees);
      HAL_UART_Transmit(&huart2, (uint8_t*)txbuf, strlen(txbuf), 200);

      RARM_GearboxRotateDegrees(&grbx, degrees);
    }
    else if (strnstr(comm_buffer, "z", recv_size))
    {
      RARM_Gearbox_t grbx;
      grbx.mot1_index = 1;
      grbx.mot2_index = 3;
      grbx.rotation_reduction_ratio = 1.4;
      RARM_MoveDegrees(5, -113);
      RARM_MoveDegrees(4, 30);
      //RARM_GearboxRotateDegrees(&grbx, 40);
    }
    else if (strnstr(comm_buffer, "K", recv_size))
    {
      RARM_Gearbox_t grbx;
      grbx.mot1_index = 1;
      grbx.mot2_index = 3;
      grbx.rotation_reduction_ratio = 1.4;

      RARM_MoveDegrees(5, 70);
      RARM_MoveDegrees(4, -30);
      //RARM_GearboxRotateDegrees(&grbx,-40);
      osDelay(5000);
      RARM_MoveDegrees(2, 120);
    }
    osDelay(1);
  }
  /* USER CODE END StartCommTask */
}

/* USER CODE BEGIN Header_StartMotorControlTask */
#define ENCODER_DEADZONE 1 // degrees
/**
* @brief Function implementing the motorControl thread.
* @param argument: Not used
* @retval None
*/
/* USER CODE END Header_StartMotorControlTask */
void StartMotorControlTask(void *argument)
{
  /* USER CODE BEGIN StartMotorControlTask */
  /* Infinite loop */
  for(;;)
  {
    osDelay(osWaitForever);

    for (uint8_t i = 0; i < N_JOINTS; i++)
    {
      mot_bank->active = i;
      uint16_t drv_status = ps01GetStatus_chain();
      uint16_t mot_status = drv_status & STATUS_MASK_MOT_STATUS;
      if (mot_status == MOT_STATUS_STOPPED)
      {
        // motor is stopped. compare the driver position to the encoder position
        // if there is a difference, send command to get the motor to the desired position
        // example: driver position 90°, encoder position 70° (= motor axle). we set the driver position
        // to 70° (which is the real position) and send a move command of 20°
        int32_t drv_position = RARM_GetPositionDegrees(i);
        int32_t enc_position = 0; // implement encoder position logic
        int32_t delta = drv_position - enc_position;
        if (abs(delta) > ENCODER_DEADZONE)
        {
          // enc_position is in degrees. first convert it to steps
          //int32_t real_position getStepsFromAngle(enc_position, mot_bank.m);
          ps01SetParam_chain(ABS_POS, enc_position); // set real position into driver
          RARM_MoveDegrees(i, delta);
        }
      }
    }
    ps01WaitBusy_chain();
    osDelay(1);
  }
  /* USER CODE END StartMotorControlTask */
}

/* USER CODE BEGIN Application */
void HAL_SPI_TxCpltCallback(SPI_HandleTypeDef *hspi) {
  if (hspi->Instance == FLASH_SPI_HANDLE.Instance) osSemaphoreRelease(spiSemaphore);
  else if (hspi->Instance == PS01_SPI_HANDLE.Instance) osSemaphoreRelease(ps01SPISemaphore);
}
void HAL_SPI_RxCpltCallback(SPI_HandleTypeDef *hspi) {
  if (hspi->Instance == FLASH_SPI_HANDLE.Instance) osSemaphoreRelease(spiSemaphore);
}
void HAL_SPI_TxRxCpltCallback(SPI_HandleTypeDef *hspi) {
  if (hspi->Instance == PS01_SPI_HANDLE.Instance) osSemaphoreRelease(ps01SPISemaphore);
}

void HAL_UARTEx_RxEventCallback(UART_HandleTypeDef *huart, uint16_t Size)
{
  recv_size = Size;
  if (Size < sizeof(comm_buffer))
    comm_buffer[Size] = '\0';

  osSemaphoreRelease(commDataAvailableHandle);
  HAL_UARTEx_ReceiveToIdle_DMA(&huart2, (uint8_t*)comm_buffer, 256);
}
/* USER CODE END Application */
